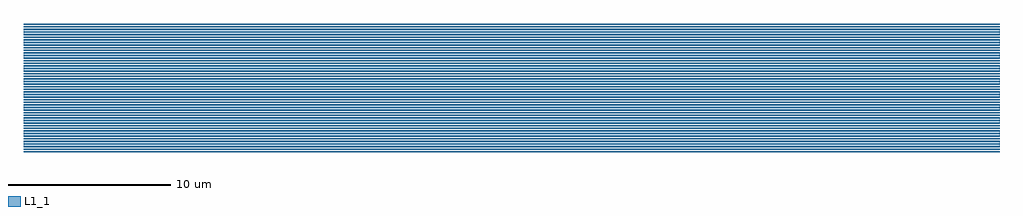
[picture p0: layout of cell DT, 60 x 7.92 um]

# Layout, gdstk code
import gdstk
lib = gdstk.Library(unit=1e-6, precision=1e-09)
def P(c, l, *ps):  # polygons
    for p in ps: c.add(gdstk.Polygon(p, *l))
L1_1 = (1, 1)

c_dt = lib.new_cell('DT')
P(c_dt, L1_1, [(-30,-0.04),(-30,0.04),(30,0.04),(30,-0.04),(-30,-0.04)],
  [(-30,0.12),(-30,0.2),(30,0.2),(30,0.12),(-30,0.12)],
  [(-30,0.28),(-30,0.36),(30,0.36),(30,0.28),(-30,0.28)],
  [(-30,0.44),(-30,0.52),(30,0.52),(30,0.44),(-30,0.44)],
  [(-30,0.6),(-30,0.68),(30,0.68),(30,0.6),(-30,0.6)],
  [(-30,0.76),(-30,0.84),(30,0.84),(30,0.76),(-30,0.76)],
  [(-30,0.92),(-30,1),(30,1),(30,0.92),(-30,0.92)],
  [(-30,1.08),(-30,1.16),(30,1.16),(30,1.08),(-30,1.08)],
  [(-30,1.24),(-30,1.32),(30,1.32),(30,1.24),(-30,1.24)],
  [(-30,1.4),(-30,1.48),(30,1.48),(30,1.4),(-30,1.4)],
  [(-30,1.56),(-30,1.64),(30,1.64),(30,1.56),(-30,1.56)],
  [(-30,1.72),(-30,1.8),(30,1.8),(30,1.72),(-30,1.72)],
  [(-30,1.88),(-30,1.96),(30,1.96),(30,1.88),(-30,1.88)],
  [(-30,2.04),(-30,2.12),(30,2.12),(30,2.04),(-30,2.04)],
  [(-30,2.2),(-30,2.28),(30,2.28),(30,2.2),(-30,2.2)],
  [(-30,2.36),(-30,2.44),(30,2.44),(30,2.36),(-30,2.36)],
  [(-30,2.52),(-30,2.6),(30,2.6),(30,2.52),(-30,2.52)],
  [(-30,2.68),(-30,2.76),(30,2.76),(30,2.68),(-30,2.68)],
  [(-30,2.84),(-30,2.92),(30,2.92),(30,2.84),(-30,2.84)],
  [(-30,3),(-30,3.08),(30,3.08),(30,3),(-30,3)],
  [(-30,3.16),(-30,3.24),(30,3.24),(30,3.16),(-30,3.16)],
  [(-30,3.32),(-30,3.4),(30,3.4),(30,3.32),(-30,3.32)],
  [(-30,3.48),(-30,3.56),(30,3.56),(30,3.48),(-30,3.48)],
  [(-30,3.64),(-30,3.72),(30,3.72),(30,3.64),(-30,3.64)],
  [(-30,3.8),(-30,3.88),(30,3.88),(30,3.8),(-30,3.8)],
  [(-30,3.96),(-30,4.04),(30,4.04),(30,3.96),(-30,3.96)],
  [(-30,4.12),(-30,4.2),(30,4.2),(30,4.12),(-30,4.12)],
  [(-30,4.28),(-30,4.36),(30,4.36),(30,4.28),(-30,4.28)],
  [(-30,4.44),(-30,4.52),(30,4.52),(30,4.44),(-30,4.44)],
  [(-30,4.6),(-30,4.68),(30,4.68),(30,4.6),(-30,4.6)],
  [(-30,4.76),(-30,4.84),(30,4.84),(30,4.76),(-30,4.76)],
  [(-30,4.92),(-30,5),(30,5),(30,4.92),(-30,4.92)],
  [(-30,5.08),(-30,5.16),(30,5.16),(30,5.08),(-30,5.08)],
  [(-30,5.24),(-30,5.32),(30,5.32),(30,5.24),(-30,5.24)],
  [(-30,5.4),(-30,5.48),(30,5.48),(30,5.4),(-30,5.4)],
  [(-30,5.56),(-30,5.64),(30,5.64),(30,5.56),(-30,5.56)],
  [(-30,5.72),(-30,5.8),(30,5.8),(30,5.72),(-30,5.72)],
  [(-30,5.88),(-30,5.96),(30,5.96),(30,5.88),(-30,5.88)],
  [(-30,6.04),(-30,6.12),(30,6.12),(30,6.04),(-30,6.04)],
  [(-30,6.2),(-30,6.28),(30,6.28),(30,6.2),(-30,6.2)],
  [(-30,6.36),(-30,6.44),(30,6.44),(30,6.36),(-30,6.36)],
  [(-30,6.52),(-30,6.6),(30,6.6),(30,6.52),(-30,6.52)],
  [(-30,6.68),(-30,6.76),(30,6.76),(30,6.68),(-30,6.68)],
  [(-30,6.84),(-30,6.92),(30,6.92),(30,6.84),(-30,6.84)],
  [(-30,7),(-30,7.08),(30,7.08),(30,7),(-30,7)],
  [(-30,7.16),(-30,7.24),(30,7.24),(30,7.16),(-30,7.16)],
  [(-30,7.32),(-30,7.4),(30,7.4),(30,7.32),(-30,7.32)],
  [(-30,7.48),(-30,7.56),(30,7.56),(30,7.48),(-30,7.48)],
  [(-30,7.64),(-30,7.72),(30,7.72),(30,7.64),(-30,7.64)],
  [(-30,7.8),(-30,7.88),(30,7.88),(30,7.8),(-30,7.8)])

lib.write_gds('DT.gds')
